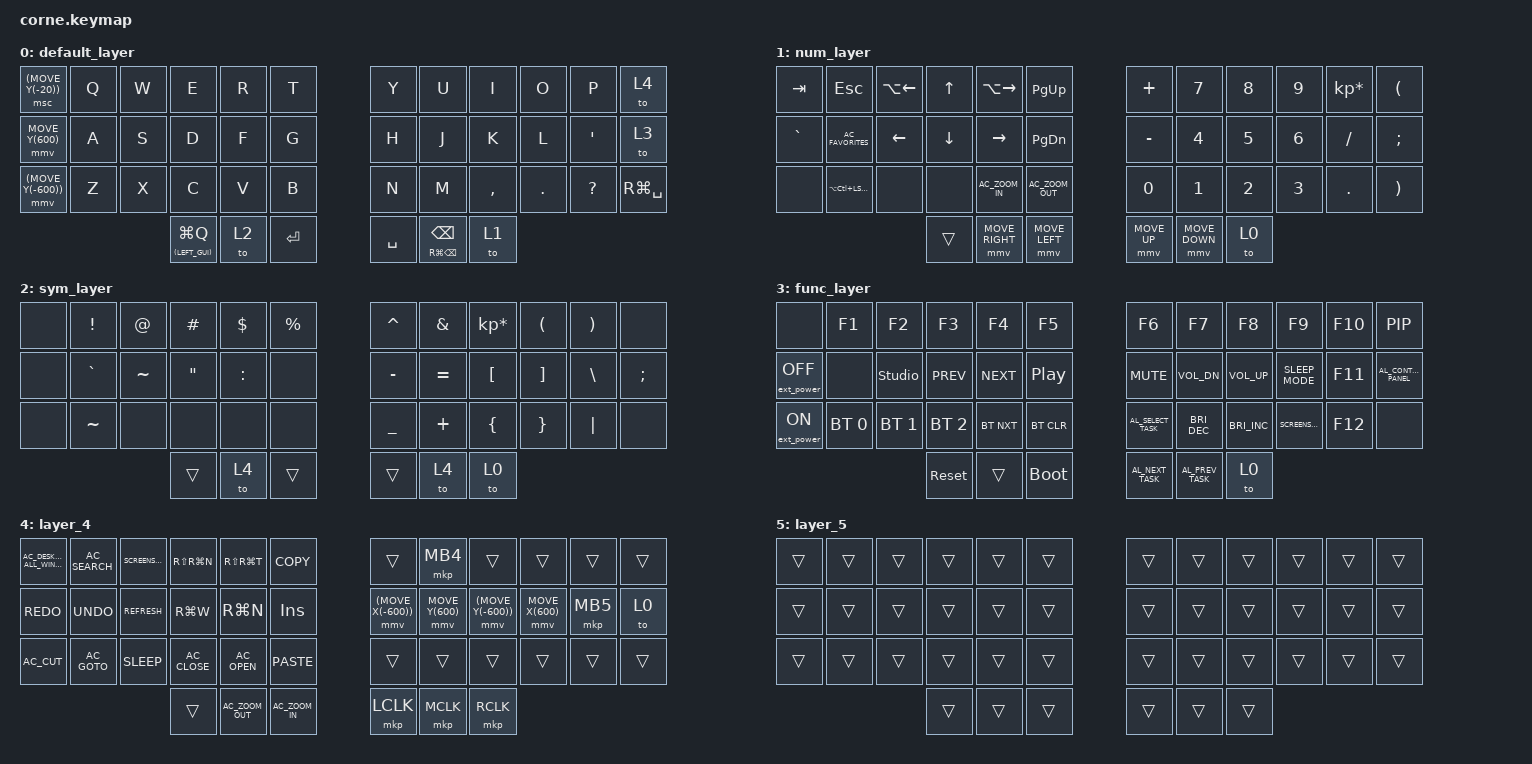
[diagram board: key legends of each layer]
/*
 * Copyright (c) 2020 The ZMK Contributors
 *
 * SPDX-License-Identifier: MIT
 */

#include <behaviors.dtsi>
#include <dt-bindings/zmk/bt.h>
#include <dt-bindings/zmk/ext_power.h>
#include <dt-bindings/zmk/keys.h>
#include <dt-bindings/zmk/pointing.h>

CONFIG_ZMK_POINTING=y

// LAYERS

#define DEFAULT 0
#define NUM     1
#define SYM     2
#define FUNC    3
#define NAV     4

// MACROS

#define SUPER LC(LSHIFT)
#define SUPER2 LA(LC(LSHIFT))

// Opposite-hand key positions, used to restrict homerow mod holds to
// cross-hand chords so same-hand rolls resolve as taps.

#define LEFT_HAND_KEYS 1 2 3 4 5 13 14 15 16 17 25 26 27 28 29 36 37 38
#define RIGHT_HAND_KEYS 6 7 8 9 10 18 19 20 21 22 30 31 32 33 34 39 40 41

&mt {
    tapping-term-ms = <200>;
    flavor = "tap-preferred";
};

/ {
    behaviors {
        hml: homerow_mods_left {
            compatible = "zmk,behavior-hold-tap";
            label = "HOMEROW_MODS_LEFT";
            #binding-cells = <2>;
            tapping-term-ms = <200>;
            quick-tap-ms = <0>;
            flavor = "tap-preferred";
            bindings = <&kp>, <&kp>;

            hold-trigger-key-positions = <RIGHT_HAND_KEYS>;
            hold-trigger-on-release;
        };

        hmr: homerow_mods_right {
            compatible = "zmk,behavior-hold-tap";
            label = "HOMEROW_MODS_RIGHT";
            #binding-cells = <2>;
            tapping-term-ms = <200>;
            quick-tap-ms = <0>;
            flavor = "tap-preferred";
            bindings = <&kp>, <&kp>;

            hold-trigger-key-positions = <LEFT_HAND_KEYS>;
            hold-trigger-on-release;
        };

        td0: tap_dance_0 {
            compatible = "zmk,behavior-tap-dance";
            label = "TAP_DANCE_0";
            #binding-cells = <0>;
            tapping-term-ms = <200>;
            bindings = <&hmr RGUI SEMI>, <&kp SQT>;
        };

        td1: tap_dance_1 {
            compatible = "zmk,behavior-tap-dance";
            label = "TAP_DANCE_1";
            #binding-cells = <0>;
            tapping-term-ms = <200>;
            bindings = <&mt LCTRL TAB>, <&kp ESC>;
        };

        new_behavior: new_behavior {
            compatible = "zmk,behavior-mouse-key-press";
            label = "NEW_BEHAVIOR";
            #binding-cells = <1>;
        };
    };

    combos {
        compatible = "zmk,combos";

        combo_cword {
            timeout-ms = <50>;
            key-positions = <16 19>;
            require-prior-idle-ms = <150>;
            bindings = <&caps_word>;
        };

        combo_vimwq {
            timeout-ms = <50>;
            key-positions = <1 2>;
            require-prior-idle-ms = <150>;
            bindings = <&vim_quit>;
        };
    };

    macros {
        vim_quit: vim_quit {
            label = "ZM_vim_quit";
            compatible = "zmk,behavior-macro";
            #binding-cells = <0>;
            bindings = <&macro_tap>, <&kp ESC &kp COLON &kp W &kp Q>;
        };
    };

    keymap {
        compatible = "zmk,keymap";

        default_layer {
            bindings = <
&msc (MOVE_Y(-20))   &kp Q  &kp W  &kp E                 &kp R  &kp T      &kp Y      &kp U                        &kp I      &kp O    &kp P         &to 4
&mmv MOVE_Y(600)     &kp A  &kp S  &kp D                 &kp F  &kp G      &kp H      &kp J                        &kp K      &kp L    &kp SQT       &to 3
&mmv (MOVE_Y(-600))  &kp Z  &kp X  &kp C                 &kp V  &kp B      &kp N      &kp M                        &kp COMMA  &kp DOT  &kp QUESTION  &kp RG(SPACE)
                                   &mt (LEFT_GUI) LG(Q)  &to 2  &kp RET    &kp SPACE  &mt RG(BACKSPACE) BACKSPACE  &to 1
            >;
        };

        num_layer {
            bindings = <
&kp TAB    &kp ESC             &kp LA(LEFT)  &kp UP    &kp LA(RIGHT)     &kp PG_UP            &kp PLUS      &kp N7          &kp N8  &kp N9  &kp KP_MULTIPLY  &kp LEFT_PARENTHESIS
&kp GRAVE  &kp C_AC_FAVORITES  &kp LEFT      &kp DOWN  &kp RIGHT         &kp PG_DN            &kp MINUS     &kp N4          &kp N5  &kp N6  &kp SLASH        &kp SEMICOLON
&none      &kp SUPER2          &none         &none     &kp C_AC_ZOOM_IN  &kp C_AC_ZOOM_OUT    &kp N0        &kp N1          &kp N2  &kp N3  &kp DOT          &kp RIGHT_PARENTHESIS
                                             &trans    &mmv MOVE_RIGHT   &mmv MOVE_LEFT       &mmv MOVE_UP  &mmv MOVE_DOWN  &to 0
            >;
        };

        sym_layer {
            bindings = <
&none  &kp EXCL   &kp AT     &kp HASH           &kp DLLR   &kp PRCNT    &kp CARET  &kp AMPS   &kp KP_MULTIPLY  &kp LPAR  &kp RPAR  &none
&none  &kp GRAVE  &kp TILDE  &kp DOUBLE_QUOTES  &kp COLON  &none        &kp MINUS  &kp EQUAL  &kp LBKT         &kp RBKT  &kp BSLH  &kp SEMICOLON
&none  &kp TILDE  &none      &none              &none      &none        &kp UNDER  &kp PLUS   &kp LBRC         &kp RBRC  &kp PIPE  &none
                             &trans             &to 4      &trans       &trans     &to 4      &to 0
            >;
        };

        func_layer {
            bindings = <
&none              &kp F1        &kp F2          &kp F3        &kp F4      &kp F5              &kp F6                &kp F7              &kp F8         &kp F9             &kp F10  &kp C_PIP
&ext_power EP_OFF  &none         &studio_unlock  &kp C_PREV    &kp C_NEXT  &kp C_PLAY_PAUSE    &kp C_MUTE            &kp C_VOL_DN        &kp C_VOL_UP   &kp C_SLEEP_MODE   &kp F11  &kp C_AL_CONTROL_PANEL
&ext_power EP_ON   &bt BT_SEL 0  &bt BT_SEL 1    &bt BT_SEL 2  &bt BT_NXT  &bt BT_CLR          &kp C_AL_SELECT_TASK  &kp C_BRI_DEC       &kp C_BRI_INC  &kp K_SCREENSAVER  &kp F12  &none
                                                 &sys_reset    &trans      &bootloader         &kp C_AL_NEXT_TASK    &kp C_AL_PREV_TASK  &to 0
            >;
        };

        layer_4 {
            bindings = <
&kp C_AC_DESKTOP_SHOW_ALL_WINDOWS  &kp C_AC_SEARCH  &kp K_SCREENSAVER  &kp RS(RG(N))   &kp RS(RG(T))      &kp K_COPY          &trans               &mkp MB4          &trans               &trans            &trans    &trans
&kp K_REDO                         &kp K_UNDO       &kp K_REFRESH      &kp RG(W)       &kp RG(N)          &kp INSERT          &mmv (MOVE_X(-600))  &mmv MOVE_Y(600)  &mmv (MOVE_Y(-600))  &mmv MOVE_X(600)  &mkp MB5  &to 0
&kp C_AC_CUT                       &kp C_AC_GOTO    &kp K_SLEEP        &kp C_AC_CLOSE  &kp C_AC_OPEN      &kp K_PASTE         &trans               &trans            &trans               &trans            &trans    &trans
                                                                       &trans          &kp C_AC_ZOOM_OUT  &kp C_AC_ZOOM_IN    &mkp LCLK            &mkp MCLK         &mkp RCLK
            >;
        };

        layer_5 {
            bindings = <
&trans  &trans  &trans  &trans  &trans  &trans    &trans  &trans  &trans  &trans  &trans  &trans
&trans  &trans  &trans  &trans  &trans  &trans    &trans  &trans  &trans  &trans  &trans  &trans
&trans  &trans  &trans  &trans  &trans  &trans    &trans  &trans  &trans  &trans  &trans  &trans
                        &trans  &trans  &trans    &trans  &trans  &trans
            >;
        };
    };
};
